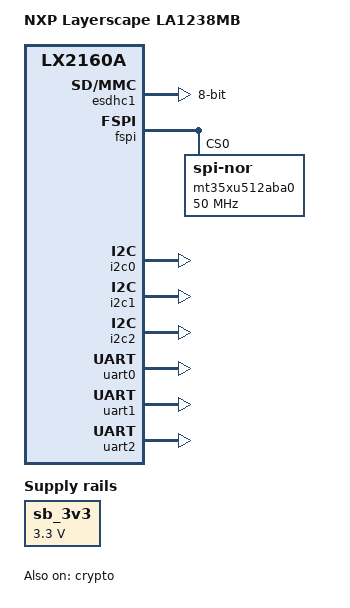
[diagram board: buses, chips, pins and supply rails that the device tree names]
// SPDX-License-Identifier: (GPL-2.0 OR MIT)
//
// Device Tree file for LA1238MB
//
// Copyright 2021 NXP

/dts-v1/;

#include "fsl-lx2160a.dtsi"

/ {
	model = "NXP Layerscape LA1238MB";
	compatible = "fsl,la1238mb", "fsl,lx2160a";

	aliases {
		crypto = &crypto;
		serial0 = &uart0;
		serial1 = &uart1;
	};

	chosen {
		stdout-path = "serial0:115200n8";
	};

	sb_3v3: regulator-sb3v3 {
		compatible = "regulator-fixed";
		regulator-name = "3v3_vbus";
		regulator-min-microvolt = <3300000>;
		regulator-max-microvolt = <3300000>;
		regulator-boot-on;
		regulator-always-on;
	};
};

&crypto {
	status = "okay";
};

&esdhc1 {
	mmc-hs200-1_8v;
	mmc-hs400-1_8v;
	bus-width = <8>;
	status = "okay";
};

&fspi {
	status = "okay";

	mt35xu512aba0: flash@0 {
		#address-cells = <1>;
		#size-cells = <1>;
		compatible = "jedec,spi-nor";
		m25p,fast-read;
		spi-max-frequency = <50000000>;
		reg = <0>;
		spi-rx-bus-width = <8>;
		spi-tx-bus-width = <8>;
	};
};

&i2c0 {
	/* TBD */
	status = "okay";
};

&i2c1 {
	/* TBD */
	status = "okay";
};

&i2c2 {
	/* TBD */
	status = "okay";
};

&uart0 {
	status = "okay";
};

&uart1 {
	status = "okay";
};

&uart2 {
	status = "okay";
};

/* TBD &dpmac3 */
/* TBD &dpmac5 */
/* TBD &emdio1 */
/* TBD &dspi2 */
/* TBD ptp-timer */
/* TBD modem_tti */
/* TBD modem_wdog */

&pcie3 {
	compatible = "fsl,ls2088a-pcie";
	reg = <0x00 0x03600000 0x0 0x00100000   /* controller registers */
	       0x90 0x00000000 0x0 0x00002000>; /* configuration space */
	reg-names = "regs", "config";
	interrupts = <GIC_SPI 118 IRQ_TYPE_LEVEL_HIGH>, /* AER interrupt */
		     <GIC_SPI 118 IRQ_TYPE_LEVEL_HIGH>, /* PME interrupt */
		     <GIC_SPI 118 IRQ_TYPE_LEVEL_HIGH>; /* controller interrupt */
	interrupt-names = "aer", "pme", "intr";
	#address-cells = <3>;
	#size-cells = <2>;
	device_type = "pci";
	dma-coherent;
	num-viewport = <256>;
	bus-range = <0x0 0xff>;
	ranges = <0x81000000 0x0 0x00000000 0x90 0x00010000 0x0 0x00010000
		  0x82000000 0x0 0x40000000 0x90 0x40000000 0x0 0x40000000>; /* non-prefetchable memory */
	msi-parent = <&its>;
	iommu-map = <0 &smmu 0 1>; /* This is fixed-up by u-boot */
	#interrupt-cells = <1>;
	interrupt-map-mask = <0 0 0 7>;
	interrupt-map = <0000 0 0 1 &gic 0 0 GIC_SPI 119 IRQ_TYPE_LEVEL_HIGH>,
			<0000 0 0 2 &gic 0 0 GIC_SPI 120 IRQ_TYPE_LEVEL_HIGH>,
			<0000 0 0 3 &gic 0 0 GIC_SPI 121 IRQ_TYPE_LEVEL_HIGH>,
			<0000 0 0 4 &gic 0 0 GIC_SPI 122 IRQ_TYPE_LEVEL_HIGH>;
	status = "disabled";
};

&pcie4 {
	compatible = "fsl,ls2088a-pcie";
	reg = <0x00 0x03700000 0x0 0x00100000   /* controller registers */
	       0x98 0x00000000 0x0 0x00002000>; /* configuration space */
	reg-names = "regs", "config";
	interrupts = <GIC_SPI 123 IRQ_TYPE_LEVEL_HIGH>, /* AER interrupt */
		     <GIC_SPI 123 IRQ_TYPE_LEVEL_HIGH>, /* PME interrupt */
		     <GIC_SPI 123 IRQ_TYPE_LEVEL_HIGH>; /* controller interrupt */
	interrupt-names = "aer", "pme", "intr";
	#address-cells = <3>;
	#size-cells = <2>;
	device_type = "pci";
	dma-coherent;
	num-viewport = <8>;
	bus-range = <0x0 0xff>;
	ranges = <0x81000000 0x0 0x00000000 0x98 0x00010000 0x0 0x00010000
		  0x82000000 0x0 0x40000000 0x98 0x40000000 0x0 0x40000000>; /* non-prefetchable memory */
	msi-parent = <&its>;
	iommu-map = <0 &smmu 0 1>; /* This is fixed-up by u-boot */
	#interrupt-cells = <1>;
	interrupt-map-mask = <0 0 0 7>;
	interrupt-map = <0000 0 0 1 &gic 0 0 GIC_SPI 124 IRQ_TYPE_LEVEL_HIGH>,
			<0000 0 0 2 &gic 0 0 GIC_SPI 125 IRQ_TYPE_LEVEL_HIGH>,
			<0000 0 0 3 &gic 0 0 GIC_SPI 126 IRQ_TYPE_LEVEL_HIGH>,
			<0000 0 0 4 &gic 0 0 GIC_SPI 127 IRQ_TYPE_LEVEL_HIGH>;
	status = "disabled";
};
